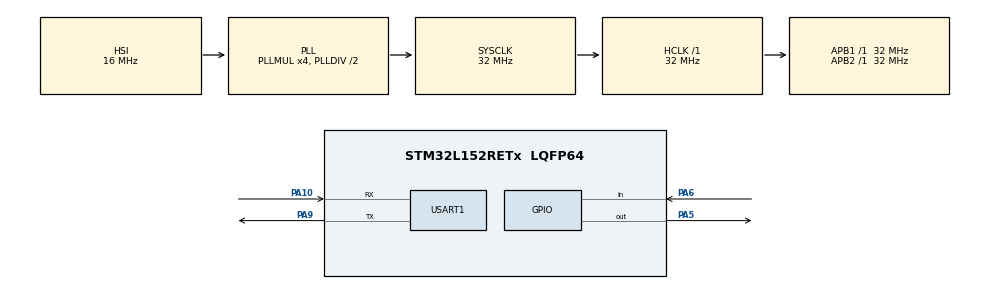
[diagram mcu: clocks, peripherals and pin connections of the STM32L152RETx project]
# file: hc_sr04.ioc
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Mcu.Family=STM32L1
Mcu.Name=STM32L152RETx
Mcu.Package=LQFP64
NVIC.PriorityGroup=NVIC_PRIORITYGROUP_4
PA10.Mode=Asynchronous
PA10.Signal=USART1_RX
PA13.Mode=Serial_Wire
PA13.Signal=SYS_JTMS-SWDIO
PA14.Mode=Serial_Wire
PA14.Signal=SYS_JTCK-SWCLK
PA5.Signal=GPIO_Output
PA6.Signal=GPIO_Input
PA9.Mode=Asynchronous
PA9.Signal=USART1_TX
ProjectManager.HeapSize=0x200
ProjectManager.StackSize=0x400
ProjectManager.TargetToolchain=STM32CubeIDE
RCC.48MHZClocksFreq_Value=32000000
RCC.AHBFreq_Value=32000000
RCC.APB1Freq_Value=32000000
RCC.APB1TimFreq_Value=32000000
RCC.APB2Freq_Value=32000000
RCC.APB2TimFreq_Value=32000000
RCC.HCLKFreq_Value=32000000
RCC.HSE_VALUE=8000000
RCC.HSI_VALUE=16000000
RCC.MSI_VALUE=2097000
RCC.PLLMUL=RCC_PLL_MUL4
RCC.SYSCLKFreq_VALUE=32000000
RCC.SYSCLKSource=RCC_SYSCLKSOURCE_PLLCLK
RCC.VCOOutputFreq_Value=64000000
TIM2.Prescaler=32-1
USART1.VirtualMode=VM_ASYNC
VP_CRC_VS_CRC.Mode=CRC_Activate
VP_TIM2_VS_ClockSourceINT.Mode=Internal
board=custom

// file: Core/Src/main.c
/* USER CODE BEGIN Header */
/**
  ******************************************************************************
  * @file           : main.c
  * @brief          : Main program body
  ******************************************************************************
  * @attention
  *
  * Copyright (c) 2025 STMicroelectronics.
  * All rights reserved.
  *
  * This software is licensed under terms that can be found in the LICENSE file
  * in the root directory of this software component.
  * If no LICENSE file comes with this software, it is provided AS-IS.
  *
  ******************************************************************************
  */
/* USER CODE END Header */
#include "main.h"
#include "crc.h"
#include "tim.h"
#include "usart.h"
#include "gpio.h"

/* USER CODE BEGIN Includes */
#include <string.h>
#include <stdio.h>
/* USER CODE END Includes */

/* USER CODE BEGIN PV */
void delayMicroseconds (uint16_t us)
{
	htim2.Instance->CNT=0;
	while (htim2.Instance->CNT < us) ;
}

int pulseIn(GPIO_TypeDef * Port, uint16_t Pin){
	  while(!HAL_GPIO_ReadPin(Port, Pin));
	  int t1=htim2.Instance->CNT;
	  while(HAL_GPIO_ReadPin(Port, Pin));
	  int t2=htim2.Instance->CNT;

	  return (t2-t1);
}
/* USER CODE END PV */

void SystemClock_Config(void);
/* USER CODE BEGIN PFP */
//void delay_us (void);

/* USER CODE END PFP */

int main(void)
{

  /* MCU Configuration--------------------------------------------------------*/

  /* Reset of all peripherals, Initializes the Flash interface and the Systick. */
  HAL_Init();

  /* Configure the system clock */
  SystemClock_Config();

  /* Initialize all configured peripherals */
  MX_GPIO_Init();
  MX_CRC_Init();
  MX_USART1_UART_Init();
  MX_TIM2_Init();
  /* USER CODE BEGIN 2 */
  HAL_TIM_Base_Start(&htim2);
  /* USER CODE END 2 */

  /* Infinite loop */
  /* USER CODE BEGIN WHILE */
  while (1)
  {
	  int duration;

	  HAL_GPIO_WritePin(GPIOA, GPIO_PIN_5, 0);
	  delayMicroseconds(2);
	  HAL_GPIO_WritePin(GPIOA, GPIO_PIN_5, 1);
	  delayMicroseconds(10);
	  HAL_GPIO_WritePin(GPIOA, GPIO_PIN_5, 0);

	  duration = pulseIn(GPIOA, GPIO_PIN_6);
	  float distance = duration * 0.017;

	  char buffer[25];
	  sprintf(buffer, "%.2f cm\n", distance);
	  HAL_UART_Transmit(&huart1, (uint8_t*)buffer, strlen(buffer), HAL_MAX_DELAY);
	  HAL_Delay(500);

    /* USER CODE END WHILE */

  }
}

void SystemClock_Config(void)
{
  RCC_OscInitTypeDef RCC_OscInitStruct = {0};
  RCC_ClkInitTypeDef RCC_ClkInitStruct = {0};

  /** Configure the main internal regulator output voltage
  */
  __HAL_PWR_VOLTAGESCALING_CONFIG(PWR_REGULATOR_VOLTAGE_SCALE1);

  /** Initializes the RCC Oscillators according to the specified parameters
  * in the RCC_OscInitTypeDef structure.
  */
  RCC_OscInitStruct.OscillatorType = RCC_OSCILLATORTYPE_HSI;
  RCC_OscInitStruct.HSIState = RCC_HSI_ON;
  RCC_OscInitStruct.HSICalibrationValue = RCC_HSICALIBRATION_DEFAULT;
  RCC_OscInitStruct.PLL.PLLState = RCC_PLL_ON;
  RCC_OscInitStruct.PLL.PLLSource = RCC_PLLSOURCE_HSI;
  RCC_OscInitStruct.PLL.PLLMUL = RCC_PLL_MUL4;
  RCC_OscInitStruct.PLL.PLLDIV = RCC_PLL_DIV2;
  if (HAL_RCC_OscConfig(&RCC_OscInitStruct) != HAL_OK)
  {
    Error_Handler();
  }

  /** Initializes the CPU, AHB and APB buses clocks
  */
  RCC_ClkInitStruct.ClockType = RCC_CLOCKTYPE_HCLK|RCC_CLOCKTYPE_SYSCLK
                              |RCC_CLOCKTYPE_PCLK1|RCC_CLOCKTYPE_PCLK2;
  RCC_ClkInitStruct.SYSCLKSource = RCC_SYSCLKSOURCE_PLLCLK;
  RCC_ClkInitStruct.AHBCLKDivider = RCC_SYSCLK_DIV1;
  RCC_ClkInitStruct.APB1CLKDivider = RCC_HCLK_DIV1;
  RCC_ClkInitStruct.APB2CLKDivider = RCC_HCLK_DIV1;

  if (HAL_RCC_ClockConfig(&RCC_ClkInitStruct, FLASH_LATENCY_1) != HAL_OK)
  {
    Error_Handler();
  }
}

void Error_Handler(void)
{
  __disable_irq();
  while (1)
  {
  }
}
